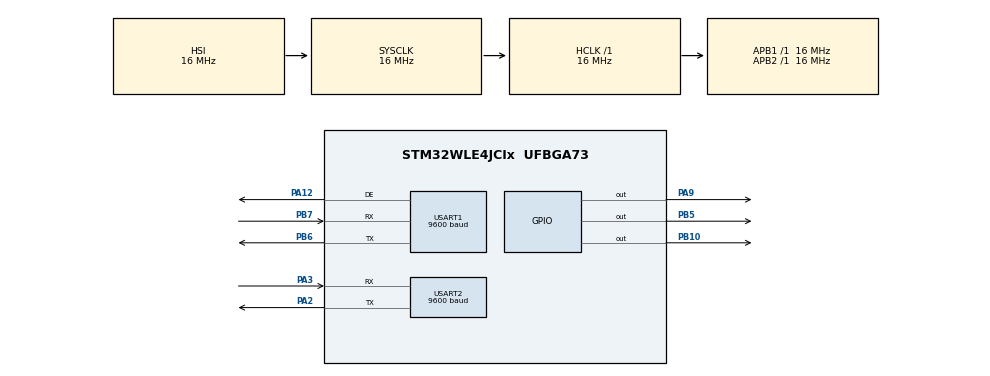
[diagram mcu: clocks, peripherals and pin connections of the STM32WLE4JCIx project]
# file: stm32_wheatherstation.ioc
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Mcu.Family=STM32WL
Mcu.Name=STM32WLE4JCIx
Mcu.Package=UFBGA73
NVIC.PriorityGroup=NVIC_PRIORITYGROUP_4
NVIC.USART1_IRQn=true\:0\:0\:false\:false\:true\:true\:true\:true
NVIC.USART2_IRQn=true\:0\:0\:false\:false\:true\:true\:true\:true
PA12.Mode=Hardware Flow Control (RS485)
PA12.Signal=USART1_DE
PA13.Mode=Serial_Wire
PA13.Signal=DEBUG_JTMS-SWDIO
PA14.Mode=Serial_Wire
PA14.Signal=DEBUG_JTCK-SWCLK
PA2.Mode=Asynchronous
PA2.Signal=USART2_TX
PA3.Mode=Asynchronous
PA3.Signal=USART2_RX
PA9.PinState=GPIO_PIN_SET
PA9.Signal=GPIO_Output
PB10.PinState=GPIO_PIN_SET
PB10.Signal=GPIO_Output
PB5.PinState=GPIO_PIN_SET
PB5.Signal=GPIO_Output
PB6.Mode=Asynchronous
PB6.Signal=USART1_TX
PB7.Mode=Asynchronous
PB7.Signal=USART1_RX
ProjectManager.HeapSize=0x200
ProjectManager.StackSize=0x400
ProjectManager.TargetToolchain=STM32CubeIDE
RCC.AHBFreq_Value=16000000
RCC.APB1Freq_Value=16000000
RCC.APB1TimFreq_Value=16000000
RCC.APB2Freq_Value=16000000
RCC.APB2TimFreq_Value=16000000
RCC.APB3Freq_Value=16000000
RCC.CortexFreq_Value=16000000
RCC.HCLKFreq_Value=16000000
RCC.HSE_VALUE=8000000
RCC.HSI_VALUE=16000000
RCC.LSE_VALUE=32768
RCC.PLLSourceVirtual=RCC_PLLSOURCE_HSI
RCC.SYSCLKFreq_VALUE=16000000
RCC.SYSCLKSource=RCC_SYSCLKSOURCE_HSI
RCC.VCOOutputFreq_Value=128000000
USART1.BaudRate=9600
USART1.VirtualMode-Asynchronous=VM_ASYNC
USART1.VirtualMode-Hardware\ Flow\ Control\ (RS485)=VM_ASYNC
USART2.BaudRate=9600
USART2.VirtualMode-Asynchronous=VM_ASYNC
board=custom

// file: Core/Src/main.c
/* USER CODE BEGIN Header */
/**
  ******************************************************************************
  * @file           : main.c
  * @brief          : Main program body
  ******************************************************************************
  * @attention
  *
  * Copyright (c) 2025 STMicroelectronics.
  * All rights reserved.
  *
  * This software is licensed under terms that can be found in the LICENSE file
  * in the root directory of this software component.
  * If no LICENSE file comes with this software, it is provided AS-IS.
  *
  ******************************************************************************
  */
/* USER CODE END Header */
#include "main.h"

/* USER CODE BEGIN Includes */
#include <stdio.h>
#include <string.h>
/* USER CODE END Includes */

/* USER CODE BEGIN PD */
#define RX_BUF_SIZE 128

uint8_t rxByte;
uint8_t rx_data;                        // byte ที่รับจาก UART
uint8_t rx_buffer_rain[RX_BUF_SIZE];        // เก็บข้อความเต็มชุด
uint8_t rx_index = 0;
uint8_t rx_ready = 0;
uint8_t rx_buffer[16];
uint8_t modbus_frame[8];
/* USER CODE END PD */

UART_HandleTypeDef huart1;
UART_HandleTypeDef huart2;

void SystemClock_Config(void);
static void MX_GPIO_Init(void);
static void MX_USART1_UART_Init(void);
static void MX_USART2_UART_Init(void);
/* USER CODE BEGIN PFP */
void Build_Modbus_Request(uint8_t slave_addr, uint16_t start_reg, uint16_t quantity, uint8_t *frame_out);
void RS485_Transmit(uint8_t *data, uint16_t size);
void TempHumi();
void Lihgt();
/* USER CODE END PFP */

int main(void)
{

  /* MCU Configuration--------------------------------------------------------*/

  /* Reset of all peripherals, Initializes the Flash interface and the Systick. */
  HAL_Init();

  /* Configure the system clock */
  SystemClock_Config();

  /* Initialize all configured peripherals */
  MX_GPIO_Init();
  MX_USART1_UART_Init();
  MX_USART2_UART_Init();
  /* USER CODE BEGIN 2 */
  HAL_UART_Receive_IT(&huart2, &rx_data, 1);
  /* USER CODE END 2 */

  /* Infinite loop */
  /* USER CODE BEGIN WHILE */
  while (1)
  {
	  if (rx_ready)
	  {
	      rx_ready = 0;
	      printf("recive : %s\n", rx_buffer_rain);
	      HAL_GPIO_TogglePin(GPIOB, GPIO_PIN_5);
	      float accumulation = 0.0f;
	      float eventAcc = 0.0f;
	      float iph = 0.0f;

	      char *accStr = strstr((char*)rx_buffer_rain, "Acc");
	      char *eventStr = strstr((char*)rx_buffer_rain, "EventAcc");
	      char *rintStr = strstr((char*)rx_buffer_rain, "RInt");

	      if (accStr && sscanf(accStr, "Acc %f", &accumulation) != 1) accumulation = 0.0f;
	      if (eventStr && sscanf(eventStr, "EventAcc %f", &eventAcc) != 1) eventAcc = 0.0f;
	      if (rintStr && sscanf(rintStr, "RInt %f", &iph) != 1) iph = 0.0f;

	      float accumulationMM = accumulation * 25.4f;
	      float eventAccMM = eventAcc * 25.4f;
	      float iphMM = iph * 25.4f;

	      printf("accumulationMM: %.2f mm\n", accumulationMM);
	      printf("eventAccMM: %.2f mm\n", eventAccMM);
	      printf("iphMM: %.2f mm/hr\n", iphMM);
	      printf("--------------------------------------\n");
	  }
	  TempHumi();
	  Lihgt();
    /* USER CODE END WHILE */

  }
}

void SystemClock_Config(void)
{
  RCC_OscInitTypeDef RCC_OscInitStruct = {0};
  RCC_ClkInitTypeDef RCC_ClkInitStruct = {0};

  /** Configure the main internal regulator output voltage
  */
  __HAL_PWR_VOLTAGESCALING_CONFIG(PWR_REGULATOR_VOLTAGE_SCALE2);

  /** Initializes the CPU, AHB and APB buses clocks
  */
  RCC_OscInitStruct.OscillatorType = RCC_OSCILLATORTYPE_HSI;
  RCC_OscInitStruct.HSIState = RCC_HSI_ON;
  RCC_OscInitStruct.HSICalibrationValue = RCC_HSICALIBRATION_DEFAULT;
  RCC_OscInitStruct.PLL.PLLState = RCC_PLL_NONE;
  if (HAL_RCC_OscConfig(&RCC_OscInitStruct) != HAL_OK)
  {
    Error_Handler();
  }

  /** Configure the SYSCLKSource, HCLK, PCLK1 and PCLK2 clocks dividers
  */
  RCC_ClkInitStruct.ClockType = RCC_CLOCKTYPE_HCLK3|RCC_CLOCKTYPE_HCLK
                              |RCC_CLOCKTYPE_SYSCLK|RCC_CLOCKTYPE_PCLK1
                              |RCC_CLOCKTYPE_PCLK2;
  RCC_ClkInitStruct.SYSCLKSource = RCC_SYSCLKSOURCE_HSI;
  RCC_ClkInitStruct.AHBCLKDivider = RCC_SYSCLK_DIV1;
  RCC_ClkInitStruct.APB1CLKDivider = RCC_HCLK_DIV1;
  RCC_ClkInitStruct.APB2CLKDivider = RCC_HCLK_DIV1;
  RCC_ClkInitStruct.AHBCLK3Divider = RCC_SYSCLK_DIV1;

  if (HAL_RCC_ClockConfig(&RCC_ClkInitStruct, FLASH_LATENCY_0) != HAL_OK)
  {
    Error_Handler();
  }
}

static void MX_USART1_UART_Init(void)
{

  huart1.Instance = USART1;
  huart1.Init.BaudRate = 9600;
  huart1.Init.WordLength = UART_WORDLENGTH_8B;
  huart1.Init.StopBits = UART_STOPBITS_1;
  huart1.Init.Parity = UART_PARITY_NONE;
  huart1.Init.Mode = UART_MODE_TX_RX;
  huart1.Init.HwFlowCtl = UART_HWCONTROL_NONE;
  huart1.Init.OverSampling = UART_OVERSAMPLING_16;
  huart1.Init.OneBitSampling = UART_ONE_BIT_SAMPLE_DISABLE;
  huart1.Init.ClockPrescaler = UART_PRESCALER_DIV1;
  huart1.AdvancedInit.AdvFeatureInit = UART_ADVFEATURE_NO_INIT;
  if (HAL_RS485Ex_Init(&huart1, UART_DE_POLARITY_HIGH, 0, 0) != HAL_OK)
  {
    Error_Handler();
  }
  if (HAL_UARTEx_SetTxFifoThreshold(&huart1, UART_TXFIFO_THRESHOLD_1_8) != HAL_OK)
  {
    Error_Handler();
  }
  if (HAL_UARTEx_SetRxFifoThreshold(&huart1, UART_RXFIFO_THRESHOLD_1_8) != HAL_OK)
  {
    Error_Handler();
  }
  if (HAL_UARTEx_DisableFifoMode(&huart1) != HAL_OK)
  {
    Error_Handler();
  }

}

static void MX_USART2_UART_Init(void)
{

  huart2.Instance = USART2;
  huart2.Init.BaudRate = 9600;
  huart2.Init.WordLength = UART_WORDLENGTH_8B;
  huart2.Init.StopBits = UART_STOPBITS_1;
  huart2.Init.Parity = UART_PARITY_NONE;
  huart2.Init.Mode = UART_MODE_TX_RX;
  huart2.Init.HwFlowCtl = UART_HWCONTROL_NONE;
  huart2.Init.OverSampling = UART_OVERSAMPLING_16;
  huart2.Init.OneBitSampling = UART_ONE_BIT_SAMPLE_DISABLE;
  huart2.Init.ClockPrescaler = UART_PRESCALER_DIV1;
  huart2.AdvancedInit.AdvFeatureInit = UART_ADVFEATURE_NO_INIT;
  if (HAL_UART_Init(&huart2) != HAL_OK)
  {
    Error_Handler();
  }
  if (HAL_UARTEx_SetTxFifoThreshold(&huart2, UART_TXFIFO_THRESHOLD_1_8) != HAL_OK)
  {
    Error_Handler();
  }
  if (HAL_UARTEx_SetRxFifoThreshold(&huart2, UART_RXFIFO_THRESHOLD_1_8) != HAL_OK)
  {
    Error_Handler();
  }
  if (HAL_UARTEx_DisableFifoMode(&huart2) != HAL_OK)
  {
    Error_Handler();
  }

}

static void MX_GPIO_Init(void)
{
  GPIO_InitTypeDef GPIO_InitStruct = {0};

  /* GPIO Ports Clock Enable */
  __HAL_RCC_GPIOA_CLK_ENABLE();
  __HAL_RCC_GPIOB_CLK_ENABLE();

  /*Configure GPIO pin Output Level */
  HAL_GPIO_WritePin(GPIOB, GPIO_PIN_5|GPIO_PIN_10, GPIO_PIN_SET);

  /*Configure GPIO pin Output Level */
  HAL_GPIO_WritePin(GPIOA, GPIO_PIN_9, GPIO_PIN_SET);

  /*Configure GPIO pins : PB5 PB10 */
  GPIO_InitStruct.Pin = GPIO_PIN_5|GPIO_PIN_10;
  GPIO_InitStruct.Mode = GPIO_MODE_OUTPUT_PP;
  GPIO_InitStruct.Pull = GPIO_NOPULL;
  GPIO_InitStruct.Speed = GPIO_SPEED_FREQ_LOW;
  HAL_GPIO_Init(GPIOB, &GPIO_InitStruct);

  /*Configure GPIO pin : PA9 */
  GPIO_InitStruct.Pin = GPIO_PIN_9;
  GPIO_InitStruct.Mode = GPIO_MODE_OUTPUT_PP;
  GPIO_InitStruct.Pull = GPIO_NOPULL;
  GPIO_InitStruct.Speed = GPIO_SPEED_FREQ_LOW;
  HAL_GPIO_Init(GPIOA, &GPIO_InitStruct);

}

/* USER CODE BEGIN 4 */
int _write(int file, char *ptr, int len) {
    for (int i = 0; i < len; i++) {
        ITM_SendChar((*ptr++));
    }
    return len;
}

uint16_t Modbus_CRC16(uint8_t *buf, uint8_t len) {
    uint16_t crc = 0xFFFF;

    for (uint8_t pos = 0; pos < len; pos++) {
        crc ^= (uint16_t)buf[pos];
        for (int i = 0; i < 8; i++) {
            if (crc & 0x0001) {
                crc >>= 1;
                crc ^= 0xA001;
            } else {
                crc >>= 1;
            }
        }
    }

    return crc;
}

void Build_Modbus_Request(uint8_t slave_addr, uint16_t start_reg, uint16_t quantity, uint8_t *frame_out) {
    frame_out[0] = slave_addr;                // AA
    frame_out[1] = 0x03;                      // Function Code

    frame_out[2] = (start_reg >> 8) & 0xFF;   // RRRR (high byte)
    frame_out[3] = start_reg & 0xFF;          // RRRR (low byte)

    frame_out[4] = (quantity >> 8) & 0xFF;    // NNNN (high byte)
    frame_out[5] = quantity & 0xFF;           // NNNN (low byte)

    uint16_t crc = Modbus_CRC16(frame_out, 6);  // คำนวณ CRC จาก 6 byte แรก

    frame_out[6] = crc & 0xFF;               // CRC Low byte
    frame_out[7] = (crc >> 8) & 0xFF;        // CRC High byte
}

void HAL_UART_RxCpltCallback(UART_HandleTypeDef *huart)
{
    if (huart->Instance == USART2)
    {
        if (rx_index < RX_BUF_SIZE - 1)
        {
        	rx_buffer_rain[rx_index++] = rx_data;

            if (rx_data == '\n')  // จบข้อความ
            {
            	rx_buffer_rain[rx_index] = '\0'; // ปิดท้าย string
                rx_ready = 1;
                rx_index = 0;
            }
        }
        else
        {
            rx_index = 0; // ถ้าเกินขนาด buffer
        }

        HAL_UART_Receive_IT(&huart2, &rx_data, 1); // รอ byte ถัดไป
    }
}

void Decode_TempHumi(uint8_t *rx_buf) {
    int16_t temp_raw = (rx_buf[3] << 8) | rx_buf[4];
    uint16_t humi_raw = (rx_buf[5] << 8) | rx_buf[6];
    int16_t dew_raw = (rx_buf[7] << 8) | rx_buf[8];
    uint16_t press_raw = (rx_buf[9] << 8) | rx_buf[10];

    float temp_c = temp_raw / 100.0f;  // °C
    float humidity = humi_raw / 100.0f;  // %
    float dewpoint_c = dew_raw / 100.0f;  // °C
    float pressure_hpa = press_raw / 10.0f;  // hPa

    printf("Temperature: %.2f C\r\n", temp_c);
    printf("Humidity: %.2f %%\r\n", humidity);
    printf("Dew Point: %.2f C\r\n", dewpoint_c);
    printf("Pressure: %.1f hPa\r\n", pressure_hpa);
}

void Decode_Light(uint8_t *rx_buf) {
    // อ่านค่า High และ Low 16 bits ของ Illuminance
    uint16_t lux_high = (rx_buf[3] << 8) | rx_buf[4];  // High 16 bits
    uint16_t lux_low  = (rx_buf[5] << 8) | rx_buf[6];  // Low 16 bits

    // รวม High และ Low 16 bits เป็น 32-bit Illuminance
    uint32_t lux = ((uint32_t)lux_high << 16) | lux_low;

    // แสดงผล
    printf("Illuminance: %lu lux\r\n", lux);
}

void TempHumi() {
	Build_Modbus_Request(0x01, 0x0000, 0x0004, modbus_frame);
	HAL_UART_Transmit(&huart1, modbus_frame, 8, 1000);
	HAL_UART_Receive(&huart1, rx_buffer, 16, 1000);

	printf("TEMPHUMI: ");
	for (int i = 0; i < 16; i++) {
	    printf("%d ", rx_buffer[i]);
	}
    printf("\r\n");

    Decode_TempHumi(rx_buffer);

	HAL_Delay(1000);
}

void Lihgt() {
	Build_Modbus_Request(0x02, 0x0000, 0x0002, modbus_frame);
	HAL_UART_Transmit(&huart1, modbus_frame, 8, 1000);
	HAL_UART_Receive(&huart1, rx_buffer, 16, 1000);

	printf("LiGHT: ");
	for (int i = 0; i < 16; i++) {
	    printf("%d ", rx_buffer[i]);
	}
    printf("\r\n");

    Decode_Light(rx_buffer);

	HAL_Delay(1000);
}
/* USER CODE END 4 */

void Error_Handler(void)
{
  __disable_irq();
  while (1)
  {
  }
}
